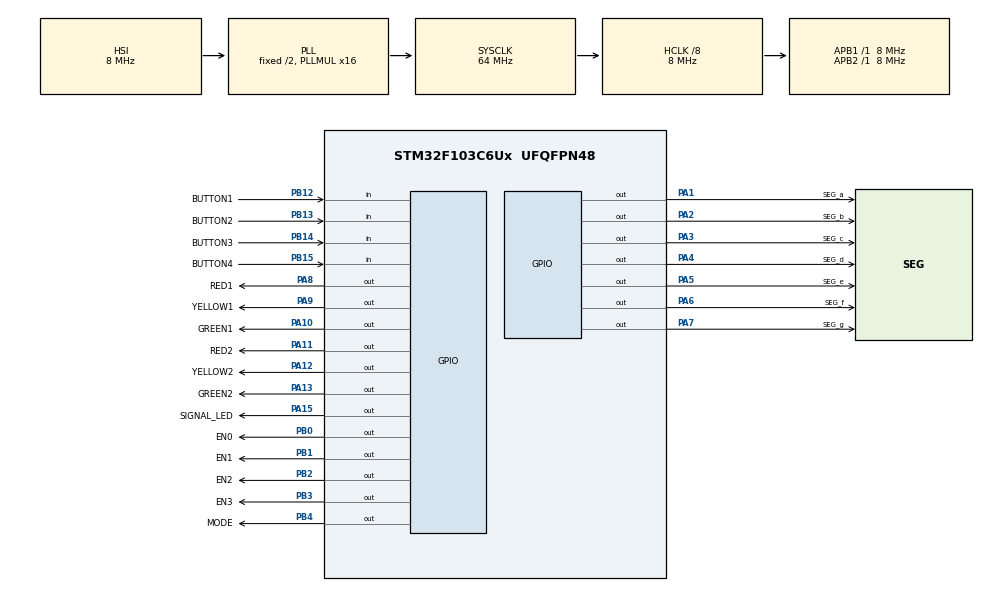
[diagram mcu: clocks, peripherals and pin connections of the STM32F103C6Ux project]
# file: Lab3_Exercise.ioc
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Mcu.Family=STM32F1
Mcu.Name=STM32F103C6Ux
Mcu.Package=UFQFPN48
NVIC.PriorityGroup=NVIC_PRIORITYGROUP_4
NVIC.TIM2_IRQn=true\:0\:0\:false\:false\:true\:true\:true
PA1.GPIO_Label=SEG_a
PA1.Signal=GPIO_Output
PA10.GPIO_Label=GREEN1
PA10.Signal=GPIO_Output
PA11.GPIO_Label=RED2
PA11.Signal=GPIO_Output
PA12.GPIO_Label=YELLOW2
PA12.Signal=GPIO_Output
PA13.GPIO_Label=GREEN2
PA13.Signal=GPIO_Output
PA15.GPIO_Label=SIGNAL_LED
PA15.Signal=GPIO_Output
PA2.GPIO_Label=SEG_b
PA2.Signal=GPIO_Output
PA3.GPIO_Label=SEG_c
PA3.Signal=GPIO_Output
PA4.GPIO_Label=SEG_d
PA4.Signal=GPIO_Output
PA5.GPIO_Label=SEG_e
PA5.Signal=GPIO_Output
PA6.GPIO_Label=SEG_f
PA6.Signal=GPIO_Output
PA7.GPIO_Label=SEG_g
PA7.Signal=GPIO_Output
PA8.GPIO_Label=RED1
PA8.Signal=GPIO_Output
PA9.GPIO_Label=YELLOW1
PA9.Signal=GPIO_Output
PB0.GPIO_Label=EN0
PB0.Signal=GPIO_Output
PB1.GPIO_Label=EN1
PB1.Signal=GPIO_Output
PB12.GPIO_Label=BUTTON1
PB12.GPIO_PuPd=GPIO_PULLUP
PB12.Signal=GPIO_Input
PB13.GPIO_Label=BUTTON2
PB13.GPIO_PuPd=GPIO_PULLUP
PB13.Signal=GPIO_Input
PB14.GPIO_Label=BUTTON3
PB14.GPIO_PuPd=GPIO_PULLUP
PB14.Signal=GPIO_Input
PB15.GPIO_Label=BUTTON4
PB15.GPIO_PuPd=GPIO_PULLUP
PB15.Signal=GPIO_Input
PB2.GPIO_Label=EN2
PB2.Signal=GPIO_Output
PB3.GPIO_Label=EN3
PB3.Signal=GPIO_Output
PB4.GPIO_Label=MODE
PB4.Signal=GPIO_Output
ProjectManager.HeapSize=0x200
ProjectManager.StackSize=0x400
ProjectManager.TargetToolchain=STM32CubeIDE
RCC.AHBCLKDivider=RCC_SYSCLK_DIV8
RCC.AHBFreq_Value=8000000
RCC.APB1Freq_Value=8000000
RCC.APB1TimFreq_Value=8000000
RCC.APB2Freq_Value=8000000
RCC.APB2TimFreq_Value=8000000
RCC.HCLKFreq_Value=8000000
RCC.PLLMUL=RCC_PLL_MUL16
RCC.SYSCLKFreq_VALUE=64000000
RCC.SYSCLKSource=RCC_SYSCLKSOURCE_PLLCLK
RCC.USBFreq_Value=64000000
TIM2.Period=9
TIM2.Prescaler=7999
VP_SYS_VS_ND.Mode=No_Debug
VP_TIM2_VS_ClockSourceINT.Mode=Internal
board=custom

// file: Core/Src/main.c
/* USER CODE BEGIN Header */
/**
  ******************************************************************************
  * @file           : main.c
  * @brief          : Main program body
  ******************************************************************************
  * @attention
  *
  * <h2><center>&copy; Copyright (c) 2024 STMicroelectronics.
  * All rights reserved.</center></h2>
  *
  * This software component is licensed by ST under BSD 3-Clause license,
  * the "License"; You may not use this file except in compliance with the
  * License. You may obtain a copy of the License at:
  *                        opensource.org/licenses/BSD-3-Clause
  *
  ******************************************************************************
  */
/* USER CODE END Header */
#include "main.h"

/* USER CODE BEGIN Includes */
#include "fsm_auto.h"
#include "input_reading.h"
#include "software_timer.h"
#include "display_LED7SEG.h"
#include "display_TrafficLight.h"
/* USER CODE END Includes */

TIM_HandleTypeDef htim2;

void SystemClock_Config(void);
static void MX_GPIO_Init(void);
static void MX_TIM2_Init(void);

int main(void)
{

  /* MCU Configuration--------------------------------------------------------*/

  /* Reset of all peripherals, Initializes the Flash interface and the Systick. */
  HAL_Init();

  /* Configure the system clock */
  SystemClock_Config();

  /* Initialize all configured peripherals */
  MX_GPIO_Init();
  MX_TIM2_Init();
  /* USER CODE BEGIN 2 */
  HAL_TIM_Base_Start_IT(&htim2);

  led7SEGInitState();
  fsmInitState();
  setTimer(0, LED7SEG_SCAN_DUR);
  /* USER CODE END 2 */

  /* Infinite loop */
  /* USER CODE BEGIN WHILE */
  while (1)
  {
	  if (getTimerFlag(0) == 1) {
		  setTimer(0, LED7SEG_SCAN_DUR);
		  led7SEGScan();
	  }

	  fsmProcess();
    /* USER CODE END WHILE */

  }
}

void SystemClock_Config(void)
{
  RCC_OscInitTypeDef RCC_OscInitStruct = {0};
  RCC_ClkInitTypeDef RCC_ClkInitStruct = {0};

  /** Initializes the RCC Oscillators according to the specified parameters
  * in the RCC_OscInitTypeDef structure.
  */
  RCC_OscInitStruct.OscillatorType = RCC_OSCILLATORTYPE_HSI;
  RCC_OscInitStruct.HSIState = RCC_HSI_ON;
  RCC_OscInitStruct.HSICalibrationValue = RCC_HSICALIBRATION_DEFAULT;
  RCC_OscInitStruct.PLL.PLLState = RCC_PLL_ON;
  RCC_OscInitStruct.PLL.PLLSource = RCC_PLLSOURCE_HSI_DIV2;
  RCC_OscInitStruct.PLL.PLLMUL = RCC_PLL_MUL16;
  if (HAL_RCC_OscConfig(&RCC_OscInitStruct) != HAL_OK)
  {
    Error_Handler();
  }
  /** Initializes the CPU, AHB and APB buses clocks
  */
  RCC_ClkInitStruct.ClockType = RCC_CLOCKTYPE_HCLK|RCC_CLOCKTYPE_SYSCLK
                              |RCC_CLOCKTYPE_PCLK1|RCC_CLOCKTYPE_PCLK2;
  RCC_ClkInitStruct.SYSCLKSource = RCC_SYSCLKSOURCE_PLLCLK;
  RCC_ClkInitStruct.AHBCLKDivider = RCC_SYSCLK_DIV8;
  RCC_ClkInitStruct.APB1CLKDivider = RCC_HCLK_DIV1;
  RCC_ClkInitStruct.APB2CLKDivider = RCC_HCLK_DIV1;

  if (HAL_RCC_ClockConfig(&RCC_ClkInitStruct, FLASH_LATENCY_2) != HAL_OK)
  {
    Error_Handler();
  }
}

static void MX_TIM2_Init(void)
{

  TIM_ClockConfigTypeDef sClockSourceConfig = {0};
  TIM_MasterConfigTypeDef sMasterConfig = {0};

  htim2.Instance = TIM2;
  htim2.Init.Prescaler = 7999;
  htim2.Init.CounterMode = TIM_COUNTERMODE_UP;
  htim2.Init.Period = 9;
  htim2.Init.ClockDivision = TIM_CLOCKDIVISION_DIV1;
  htim2.Init.AutoReloadPreload = TIM_AUTORELOAD_PRELOAD_DISABLE;
  if (HAL_TIM_Base_Init(&htim2) != HAL_OK)
  {
    Error_Handler();
  }
  sClockSourceConfig.ClockSource = TIM_CLOCKSOURCE_INTERNAL;
  if (HAL_TIM_ConfigClockSource(&htim2, &sClockSourceConfig) != HAL_OK)
  {
    Error_Handler();
  }
  sMasterConfig.MasterOutputTrigger = TIM_TRGO_RESET;
  sMasterConfig.MasterSlaveMode = TIM_MASTERSLAVEMODE_DISABLE;
  if (HAL_TIMEx_MasterConfigSynchronization(&htim2, &sMasterConfig) != HAL_OK)
  {
    Error_Handler();
  }

}

static void MX_GPIO_Init(void)
{
  GPIO_InitTypeDef GPIO_InitStruct = {0};

  /* GPIO Ports Clock Enable */
  __HAL_RCC_GPIOA_CLK_ENABLE();
  __HAL_RCC_GPIOB_CLK_ENABLE();

  /*Configure GPIO pin Output Level */
  HAL_GPIO_WritePin(GPIOA, SEG_a_Pin|SEG_b_Pin|SEG_c_Pin|SEG_d_Pin
                          |SEG_e_Pin|SEG_f_Pin|SEG_g_Pin|RED1_Pin
                          |YELLOW1_Pin|GREEN1_Pin|RED2_Pin|YELLOW2_Pin
                          |GREEN2_Pin|SIGNAL_LED_Pin, GPIO_PIN_RESET);

  /*Configure GPIO pin Output Level */
  HAL_GPIO_WritePin(GPIOB, EN0_Pin|EN1_Pin|EN2_Pin|EN3_Pin
                          |MODE_Pin, GPIO_PIN_RESET);

  /*Configure GPIO pins : SEG_a_Pin SEG_b_Pin SEG_c_Pin SEG_d_Pin
                           SEG_e_Pin SEG_f_Pin SEG_g_Pin RED1_Pin
                           YELLOW1_Pin GREEN1_Pin RED2_Pin YELLOW2_Pin
                           GREEN2_Pin SIGNAL_LED_Pin */
  GPIO_InitStruct.Pin = SEG_a_Pin|SEG_b_Pin|SEG_c_Pin|SEG_d_Pin
                          |SEG_e_Pin|SEG_f_Pin|SEG_g_Pin|RED1_Pin
                          |YELLOW1_Pin|GREEN1_Pin|RED2_Pin|YELLOW2_Pin
                          |GREEN2_Pin|SIGNAL_LED_Pin;
  GPIO_InitStruct.Mode = GPIO_MODE_OUTPUT_PP;
  GPIO_InitStruct.Pull = GPIO_NOPULL;
  GPIO_InitStruct.Speed = GPIO_SPEED_FREQ_LOW;
  HAL_GPIO_Init(GPIOA, &GPIO_InitStruct);

  /*Configure GPIO pins : EN0_Pin EN1_Pin EN2_Pin EN3_Pin
                           MODE_Pin */
  GPIO_InitStruct.Pin = EN0_Pin|EN1_Pin|EN2_Pin|EN3_Pin
                          |MODE_Pin;
  GPIO_InitStruct.Mode = GPIO_MODE_OUTPUT_PP;
  GPIO_InitStruct.Pull = GPIO_NOPULL;
  GPIO_InitStruct.Speed = GPIO_SPEED_FREQ_LOW;
  HAL_GPIO_Init(GPIOB, &GPIO_InitStruct);

  /*Configure GPIO pins : BUTTON1_Pin BUTTON2_Pin BUTTON3_Pin BUTTON4_Pin */
  GPIO_InitStruct.Pin = BUTTON1_Pin|BUTTON2_Pin|BUTTON3_Pin|BUTTON4_Pin;
  GPIO_InitStruct.Mode = GPIO_MODE_INPUT;
  GPIO_InitStruct.Pull = GPIO_PULLUP;
  HAL_GPIO_Init(GPIOB, &GPIO_InitStruct);

}

/* USER CODE BEGIN 4 */
void HAL_TIM_PeriodElapsedCallback(TIM_HandleTypeDef *htim) {
	timerRun();
	buttonReading();
}
/* USER CODE END 4 */

void Error_Handler(void)
{
  __disable_irq();
  while (1)
  {
  }
}

/************************ (C) COPYRIGHT STMicroelectronics *****END OF FILE****/
